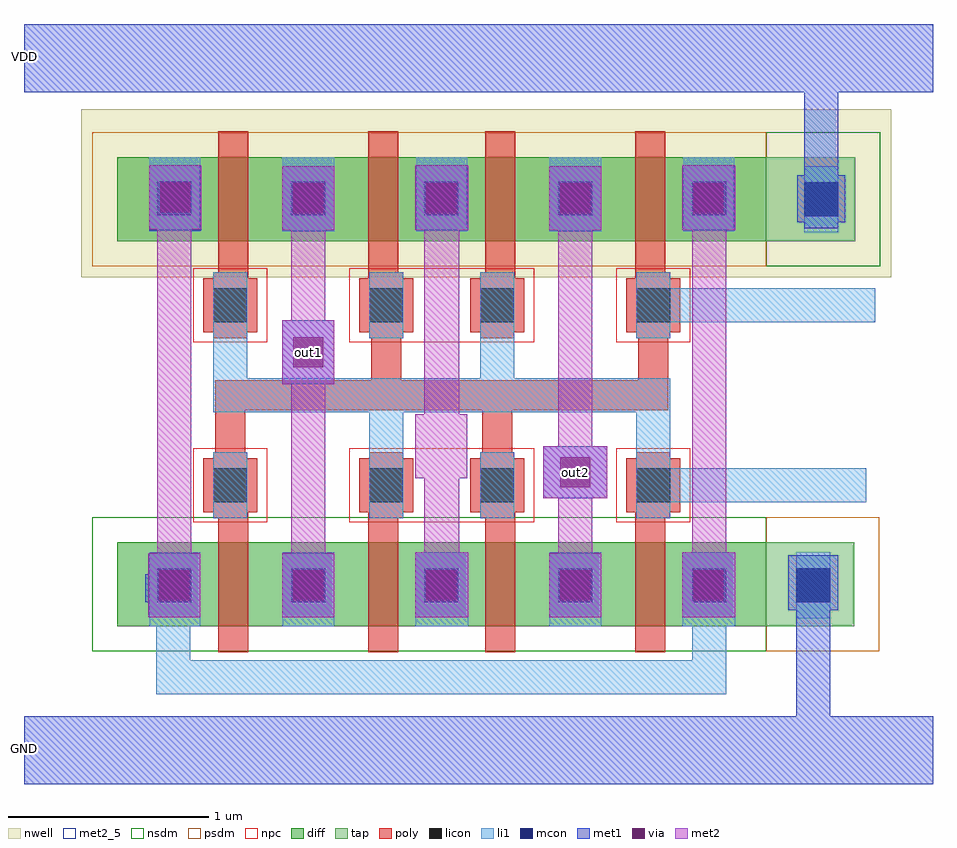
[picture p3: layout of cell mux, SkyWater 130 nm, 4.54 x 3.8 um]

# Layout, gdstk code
import gdstk
lib = gdstk.Library(unit=1e-6, precision=1e-09)
def R(c, l, rs):  # rectangles x0, y0, x1, y1
    for r in rs: c.add(gdstk.rectangle(r[:2], r[2:], *l))
def A(c, l, x, y, w, h, nx, ny, dx, dy):  # array of equal rectangles
    R(c, l, [(x+i*dx, y+j*dy, x+i*dx+w, y+j*dy+h) for i in range(nx) for j in range(ny)])
nwell = (64, 20)
diff = (65, 20)
tap = (65, 44)
poly = (66, 20)
licon = (66, 44)
li1 = (67, 20)
mcon = (67, 44)
met1 = (68, 20)
via = (68, 44)
met2_5 = (69, 5)
met2 = (69, 20)
nsdm = (93, 44)
psdm = (94, 20)
npc = (95, 20)

mux = lib.new_cell('mux')
R(mux, nwell, [(-0.835,2.14,3.215,2.98)])
R(mux, diff, [(-0.655,0.395,2.59,0.815), (-0.655,2.32,2.59,2.74)])
R(mux, tap, [(2.59,0.395,3.03,0.815), (2.59,2.32,3.035,2.74)])
R(mux, poly, [(-0.15,0.265,0,0.935), (0.6,0.265,0.75,0.935), (1.185,0.265,1.335,0.935), (1.935,0.265,2.085,0.935), (-0.175,0.935,0,0.965), (0.6,0.935,0.775,0.965), (1.16,0.935,1.335,0.965), (1.935,0.935,2.11,0.965), (-0.225,0.965,0.045,1.235), (0.555,0.965,0.825,1.235), (1.11,0.965,1.38,1.235), (1.89,0.965,2.16,1.235), (-0.175,1.235,-0.005,1.265), (0.605,1.235,0.775,1.265), (1.16,1.235,1.33,1.265), (1.94,1.235,2.11,1.265), (-0.165,1.265,-0.015,1.475), (1.17,1.265,1.32,1.475), (-0.165,1.475,2.1,1.625), (0.615,1.625,0.765,1.835), (1.95,1.625,2.1,1.835), (-0.175,1.835,-0.005,1.865), (0.605,1.835,0.775,1.865), (1.16,1.835,1.33,1.865), (1.94,1.835,2.11,1.865), (-0.225,1.865,0.045,2.135), (0.555,1.865,0.825,2.135), (1.11,1.865,1.38,2.135), (1.89,1.865,2.16,2.135), (-0.175,2.135,0,2.165), (0.6,2.135,0.775,2.165), (1.16,2.135,1.335,2.165), (1.935,2.135,2.11,2.165), (-0.15,2.165,0,2.87), (0.6,2.165,0.75,2.87), (1.185,2.165,1.335,2.87), (1.935,2.165,2.085,2.87)])
A(mux, licon, 0.88, 0.515, 0.17, 0.17, 3, 2, 0.67, 1.935)
R(mux, licon, [(-0.455,0.515,-0.285,0.685), (0.215,0.515,0.385,0.685), (2.74,0.515,2.91,0.685), (-0.175,1.015,-0.005,1.185), (0.605,1.015,0.775,1.185), (1.16,1.015,1.33,1.185), (1.94,1.015,2.11,1.185), (-0.175,1.915,-0.005,2.085), (0.605,1.915,0.775,2.085), (1.16,1.915,1.33,2.085), (1.94,1.915,2.11,2.085), (2.78,2.445,2.95,2.615), (-0.455,2.45,-0.285,2.62), (0.215,2.45,0.385,2.62)])
A(mux, li1, -0.495, 2.37, 0.255, 0.37, 3, 1, 1.335, 0)
R(mux, li1, [(-0.46,0.055,2.39,0.225), (-0.46,0.225,-0.29,0.395), (2.22,0.225,2.39,0.395), (-0.495,0.395,-0.24,0.765), (0.17,0.395,0.43,0.765), (0.835,0.395,1.1,0.765), (1.505,0.395,1.765,0.765), (2.17,0.395,2.435,0.765), (2.74,0.435,2.91,0.765), (-0.175,0.935,-0.005,1.265), (0.605,0.935,0.775,1.465), (1.16,0.935,1.33,1.265), (1.94,0.935,2.11,1.015), (1.94,1.015,3.09,1.185), (1.94,1.185,2.11,1.465), (-0.175,1.465,2.11,1.635), (-0.175,1.635,-0.005,2.165), (1.16,1.635,1.33,2.165), (0.605,1.835,0.775,2.165), (1.94,1.835,2.11,1.915), (1.94,1.915,3.135,2.085), (1.94,2.085,2.11,2.165), (2.78,2.365,2.95,2.695), (0.17,2.37,0.43,2.74), (1.505,2.37,1.765,2.74)])
A(mux, mcon, 0.88, 0.515, 0.17, 0.17, 3, 2, 0.67, 1.935)
R(mux, mcon, [(-0.455,0.515,-0.285,0.685), (0.215,0.515,0.385,0.685), (2.74,0.515,2.91,0.685), (2.78,2.445,2.95,2.615), (-0.455,2.45,-0.285,2.62), (0.215,2.45,0.385,2.62)])
R(mux, met1, [(-1.12,-0.395,3.425,-0.055), (2.74,-0.055,2.91,0.475), (-0.5,0.44,-0.24,0.515), (0.17,0.44,0.43,0.76), (0.835,0.44,1.1,0.765), (1.505,0.44,1.765,0.76), (2.17,0.44,2.435,0.765), (2.7,0.475,2.95,0.75), (-0.515,0.515,-0.24,0.655), (-0.5,0.655,-0.24,0.76), (1.475,1.035,1.795,1.295), (0.17,1.605,0.43,1.925), (0.21,2.37,0.39,2.375), (1.545,2.37,1.725,2.375), (-0.495,2.375,-0.235,2.7), (0.17,2.375,0.43,2.695), (0.835,2.375,1.1,2.7), (1.505,2.375,1.765,2.695), (2.17,2.375,2.435,2.7), (2.78,2.385,2.95,2.415), (2.745,2.415,2.985,2.65), (2.78,2.65,2.95,3.065), (-1.12,3.065,3.425,3.405)])
R(mux, via, [(-0.445,0.525,-0.295,0.675), (0.225,0.525,0.375,0.675), (0.89,0.525,1.04,0.675), (1.56,0.525,1.71,0.675), (2.225,0.525,2.375,0.675), (1.56,1.09,1.71,1.24), (0.225,1.69,0.375,1.84), (0.225,2.46,0.375,2.61), (0.89,2.46,1.04,2.61), (1.56,2.46,1.71,2.61), (2.225,2.46,2.375,2.61), (-0.44,2.465,-0.29,2.615)])
R(mux, met2_5, [(1.475,1.035,1.795,1.295), (0.17,1.605,0.43,1.925)])
R(mux, met2, [(-0.5,0.44,-0.24,0.76), (0.17,0.44,0.43,0.76), (0.835,0.44,1.1,0.765), (1.505,0.44,1.765,0.76), (2.17,0.44,2.435,0.765), (-0.455,0.76,-0.285,2.38), (0.215,0.76,0.385,1.605), (1.55,0.76,1.72,1.035), (0.88,0.765,1.055,1.135), (2.22,0.765,2.39,2.375), (1.475,1.035,1.795,1.295), (0.835,1.135,1.095,1.455), (1.55,1.295,1.72,2.375), (0.88,1.455,1.055,2.375), (0.17,1.605,0.43,1.925), (0.215,1.925,0.385,2.375), (0.17,2.375,0.43,2.695), (0.835,2.375,1.1,2.7), (1.505,2.375,1.765,2.695), (2.17,2.375,2.435,2.7), (-0.495,2.38,-0.235,2.7)])
R(mux, nsdm, [(-0.78,0.27,2.59,0.94), (2.59,2.195,3.16,2.865)])
R(mux, psdm, [(2.59,0.27,3.155,0.94), (-0.78,2.195,2.59,2.865)])
R(mux, npc, [(-0.275,0.915,0.095,1.285), (0.505,0.915,1.43,1.285), (1.84,0.915,2.21,1.285), (-0.275,1.815,0.095,2.185), (0.505,1.815,1.43,2.185), (1.84,1.815,2.21,2.185)])
mux.add(gdstk.Label('VDD', (-1.12,3.245), layer=68, texttype=5))
mux.add(gdstk.Label('GND', (-1.12,-0.215), layer=68, texttype=5))
mux.add(gdstk.Label('out1', (0.3,1.765), layer=69, texttype=5))
mux.add(gdstk.Label('out2', (1.635,1.165), layer=69, texttype=5))

lib.write_gds('mux.gds')
